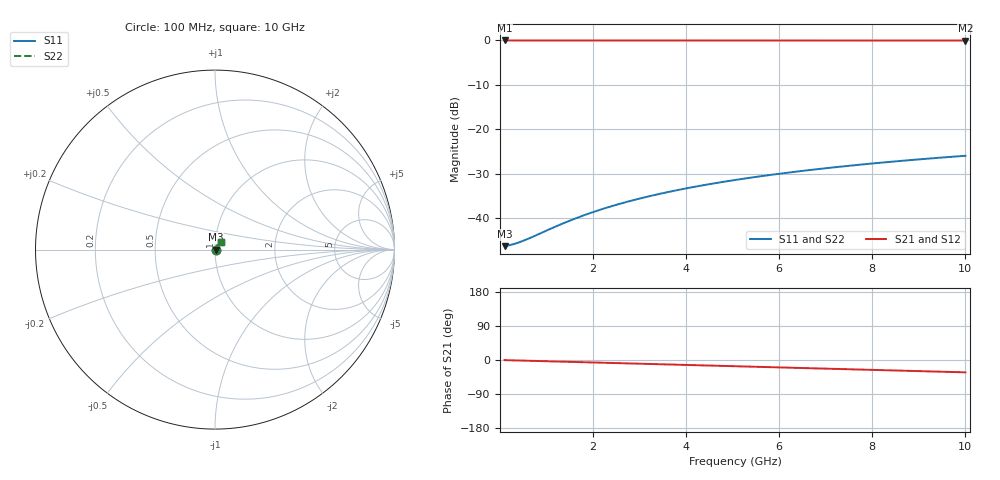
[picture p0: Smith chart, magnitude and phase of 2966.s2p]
# Hz S RI R 50.00
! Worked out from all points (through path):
!   100 points, 100 MHz to 10 GHz, reference 50 ohm
!   highest |S21| = -0.04 dB at 100 MHz (marker M1); lowest = -0.1 dB at 10 GHz (marker M2)
!   group delay of S21, straight-line fit = 9.05 ps
!   lowest |S11| = -46.3 dB at 100 MHz (marker M3), VSWR 1.01, Z = 50.5 + j0.051 ohm
!   |S11| at or under -10 dB: start of sweep to end of sweep
!   |S22| runs from -46.3 to -25.9 dB; largest |S21 - S12| = 0
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1e8  0.00484 0.000505  0.9951 -0.00565  0.9951 -0.00565  0.00484 0.000505
2e8  0.00488 0.00101  0.9951 -0.0113  0.9951 -0.0113  0.00488 0.00101
3e8  0.00491 0.00151  0.995 -0.017  0.995 -0.017  0.00491 0.00151
5e8  0.00499 0.00252  0.9947 -0.0283  0.9947 -0.0283  0.00499 0.00252
7e8  0.00508 0.00353  0.9942 -0.0396  0.9942 -0.0396  0.00508 0.00353
1.3e9  0.00548 0.00653  0.9922 -0.0734  0.9922 -0.0734  0.00548 0.00653
1.6e9  0.00575 0.00802  0.9908 -0.0903  0.9908 -0.0903  0.00575 0.00802
1.8e9  0.00596 0.009  0.9897 -0.1016  0.9897 -0.1016  0.00596 0.009
2.2e9  0.00644 0.011  0.987 -0.124  0.987 -0.124  0.00644 0.011
2.6e9  0.00701 0.0129  0.9839 -0.1464  0.9839 -0.1464  0.00701 0.0129
3e9  0.00766 0.0148  0.9802 -0.1687  0.9802 -0.1687  0.00766 0.0148
3.4e9  0.0084 0.0167  0.9761 -0.191  0.9761 -0.191  0.0084 0.0167
3.8e9  0.00923 0.0185  0.9714 -0.2131  0.9714 -0.2131  0.00923 0.0185
4.2e9  0.0101 0.0203  0.9663 -0.2351  0.9663 -0.2351  0.0101 0.0203
4.6e9  0.0111 0.022  0.9606 -0.257  0.9606 -0.257  0.0111 0.022
5.1e9  0.0125 0.0242  0.9528 -0.2842  0.9528 -0.2842  0.0125 0.0242
5.9e9  0.0149 0.0274  0.9387 -0.3272  0.9387 -0.3272  0.0149 0.0274
6.7e9  0.0176 0.0303  0.9227 -0.3695  0.9227 -0.3695  0.0176 0.0303
7.5e9  0.0205 0.0331  0.9047 -0.4111  0.9047 -0.4111  0.0205 0.0331
8.4e9  0.0241 0.0358  0.8823 -0.4568  0.8823 -0.4568  0.0241 0.0358
9.2e9  0.0276 0.0378  0.8604 -0.4964  0.8604 -0.4964  0.0276 0.0378
1e10  0.0312 0.0396  0.8367 -0.535  0.8367 -0.535  0.0312 0.0396
